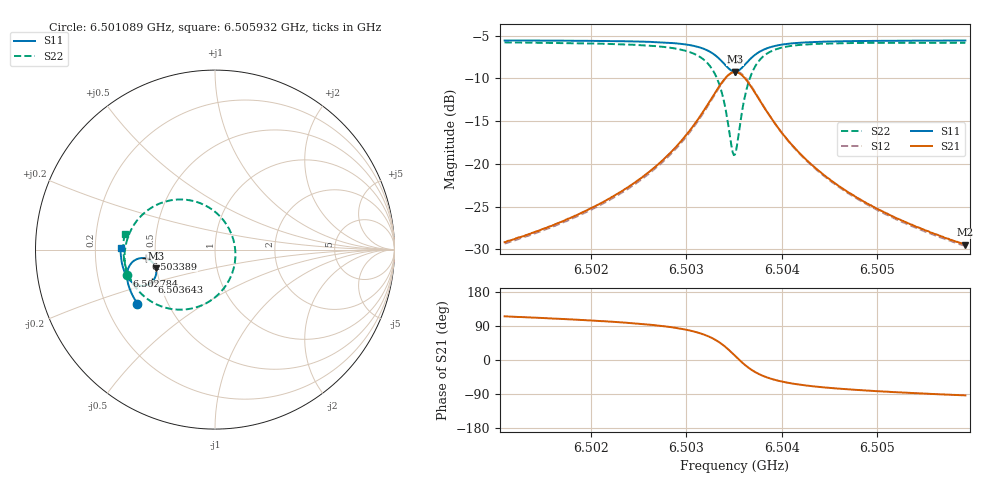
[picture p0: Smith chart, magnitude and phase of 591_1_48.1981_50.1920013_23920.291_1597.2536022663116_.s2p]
#  HZ  S  RI  R  50.00
! Rohde & Schwarz Vector Network Analyzer
! Rohde-Schwarz,ZNB20-2Port,1311601062101988,3.16
! Created: UTC 3/20/2024, 12:02:35 PM
! freq[Hz]  re:S11  im:S11  re:S21  im:S21  re:S12  im:S12  re:S22  im:S22
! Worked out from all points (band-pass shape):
!   401 points, 6.501089 GHz to 6.505932 GHz, reference 50 ohm
!   highest |S21| = -9.26 dB at 6.50351 GHz (marker M1); lowest = -29.5 dB at 6.505932 GHz (marker M2)
!   |S21| within 3 dB of the highest: 6.503269 GHz to 6.503752 GHz (483.5 kHz wide, 0.00743 % of centre)
!   lowest |S11| = -9.2 dB at 6.50351 GHz (marker M3), VSWR 2.06, Z = 24.7 - j5.71 ohm
!   |S11| at or under -10 dB: nowhere
!   |S22| runs from -19.0 to -5.8 dB; largest |S21 - S12| = 0.012
!   S11 on the Smith chart (normalised r, x): 6.501089 GHz: 0.34, -0.28; 6.502784 GHz: 0.33, -0.13; 6.503389 GHz: 0.44, -0.05; 6.503643 GHz: 0.45, -0.19; 6.505932 GHz: 0.31, +0.01
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6.5010886e9  -0.4326 -0.301  -0.0148 0.0315  -0.0131 0.0315  -0.493 -0.1433
6.5018998e9  -0.4667 -0.2397  -0.014 0.0499  -0.0116 0.0494  -0.5041 -0.0551
6.5023357e9  -0.4814 -0.2002  -0.011 0.0692  -0.00789 0.0681  -0.5 0.00869
6.502711e9  -0.4897 -0.1576  -0.0012 0.1004  0.0025 0.0979  -0.4785 0.0865
6.5027837e9  -0.4903 -0.1477  0.00291 0.1091  0.00662 0.1066  -0.4696 0.106
6.5029895e9  -0.4863 -0.1143  0.0245 0.1433  0.0282 0.1391  -0.4245 0.1739
6.5031469e9  -0.4712 -0.082  0.0646 0.1799  0.0672 0.1743  -0.3467 0.2378
6.5032922e9  -0.4327 -0.0521  0.1474 0.2091  0.1479 0.2031  -0.196 0.2792
6.5033406e9  -0.4111 -0.0472  0.1906 0.2077  0.1906 0.2022  -0.1203 0.2706
6.503389e9  -0.3854 -0.0494  0.24 0.1924  0.2403 0.1879  -0.0354 0.2358
6.5034738e9  -0.3417 -0.0792  0.3197 0.1166  0.3224 0.1127  0.0918 0.0867
6.5035101e9  -0.3307 -0.1016  0.3378 0.0671  0.3418 0.0619  0.1131 -0.00643
6.5035343e9  -0.3275 -0.1183  0.3413 0.0316  0.3456 0.0253  0.1109 -0.071
6.5035707e9  -0.3298 -0.1429  0.3339 -0.0194  0.3377 -0.0281  0.0831 -0.1615
6.5036433e9  -0.3524 -0.1808  0.2862 -0.0971  0.2866 -0.1087  -0.029 -0.2872
6.5037523e9  -0.3988 -0.2014  0.1976 -0.143  0.1924 -0.153  -0.2085 -0.3344
6.5039097e9  -0.4468 -0.192  0.1121 -0.1388  0.1052 -0.1442  -0.362 -0.285
6.5040792e9  -0.475 -0.1705  0.0659 -0.1175  0.0596 -0.1198  -0.4368 -0.2174
6.5043213e9  -0.4962 -0.1406  0.035 -0.0917  0.03 -0.0923  -0.4812 -0.1433
6.5047209e9  -0.5129 -0.0982  0.0142 -0.0655  0.011 -0.0651  -0.5052 -0.0612
6.5051325e9  -0.5213 -0.0597  0.00523 -0.05  0.00291 -0.0495  -0.5108 -0.00143
6.5059316e9  -0.5264 0.00867  -0.00207 -0.0335  -0.00339 -0.0328  -0.5036 0.0852
